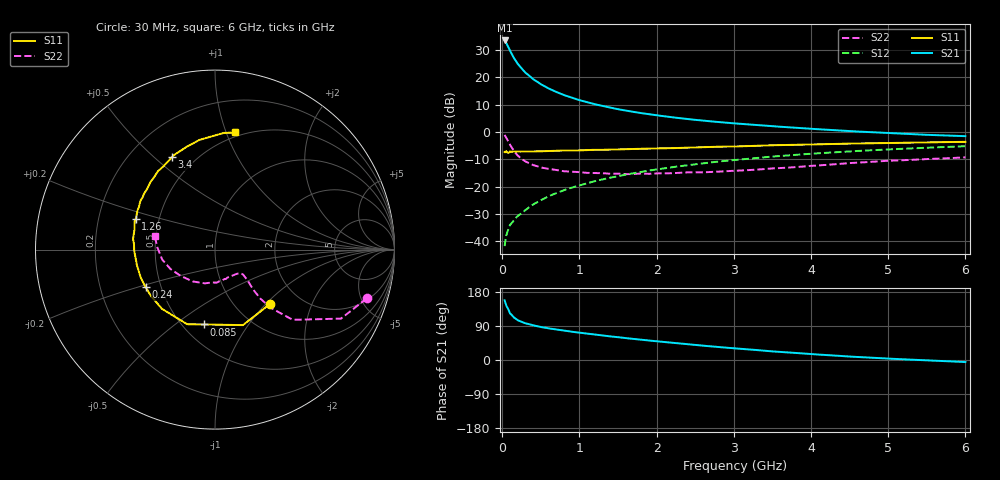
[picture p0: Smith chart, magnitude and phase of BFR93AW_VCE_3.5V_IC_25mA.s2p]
! Infineon Technologies  Discrete & RF Semiconductors
! BFR93AW
! VCE =  3.5 V,  IC =  25 mA
! Common Emitter S-Parameters:  Nov 2015
# GHz  S  MA  R  50
!  f  S11  S21  S12  S22
! GHz  MAG  ANG  MAG  ANG  MAG  ANG  MAG  ANG
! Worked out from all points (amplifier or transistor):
!   206 points, 30 MHz to 6 GHz, reference 50 ohm
!   highest |S21| = 33.5 dB at 30 MHz (marker M1)
!   |S21| within 3 dB of that: start of sweep to 86.22 MHz
!   unconditionally stable (mu >= 1): 480.5 MHz to 2.223 GHz
!   at 200 MHz: K = 0.77, MSG = 27.8 dB, |S12| = -30.7 dB
!   at 1.56 GHz: K = 1.04, MAG = 10.7 dB, |S12| = -15.8 dB
!   at 6 GHz: K = 0.91, MSG = 1.8 dB, |S12| = -5.2 dB
!   S11 on the Smith chart (normalised r, x): 30 MHz: 1.42, -1.06; 85 MHz: 0.63, -0.64; 240 MHz: 0.41, -0.21; 1.26 GHz: 0.37, +0.16; 3.4 GHz: 0.38, +0.57; 6 GHz: 0.46, +1.08
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0.03  0.4308 -44.9  47.34 157.6  0.0082 74.4  0.8882 -17.8
0.05  0.4486 -69.7  42.93 143.5  0.0126 69.5  0.8005 -28.7
0.085  0.4217 -98.4  33.79 130.6  0.0177 62.8  0.6447 -37.2
0.1  0.4437 -110.5  30.61 122.9  0.02 61.0  0.5838 -42.1
0.15  0.443 -131.9  22.56 111.9  0.0244 60.3  0.4495 -46.2
0.2  0.4405 -144.2  17.7 105.0  0.0292 62.0  0.3726 -47.2
0.24  0.4394 -151.6  15.08 101.4  0.0322 63.7  0.3314 -46.7
0.3  0.4421 -159.3  12.19 96.7  0.0374 66.1  0.2904 -45.6
0.4  0.4436 -168.5  9.265 91.3  0.0475 68.5  0.2494 -43.3
0.5  0.4458 -174.8  7.49 87.0  0.0566 70.1  0.2249 -42.4
0.6  0.4504 -179.5  6.273 83.5  0.067 71.2  0.2122 -41.6
0.7  0.4522 176.2  5.412 80.3  0.0764 71.4  0.203 -42.0
0.9  0.4606 169.2  4.245 74.6  0.0966 71.7  0.1892 -44.3
1.04  0.4648 164.9  3.701 71.0  0.11 70.9  0.1827 -47.3
1.26  0.4737 159.1  3.088 65.6  0.1327 70.2  0.1776 -52.0
1.6  0.4857 150.8  2.471 57.8  0.1666 67.9  0.1706 -62.0
2.02  0.5039 141.3  2.009 48.9  0.2092 64.7  0.1758 -76.6
3.1  0.5498 120.3  1.41 29.4  0.317 54.7  0.1985 -110.5
3.4  0.5676 115.1  1.311 24.5  0.3466 51.6  0.2108 -121.5
4.1  0.5981 103.8  1.126 14.3  0.4101 44.0  0.2458 -145.8
5.1  0.6344 90.5  0.947 2.7  0.4893 33.2  0.3023 -172.0
6  0.6625 80.1  0.842 -5.4  0.552 23.8  0.3449 167.1
